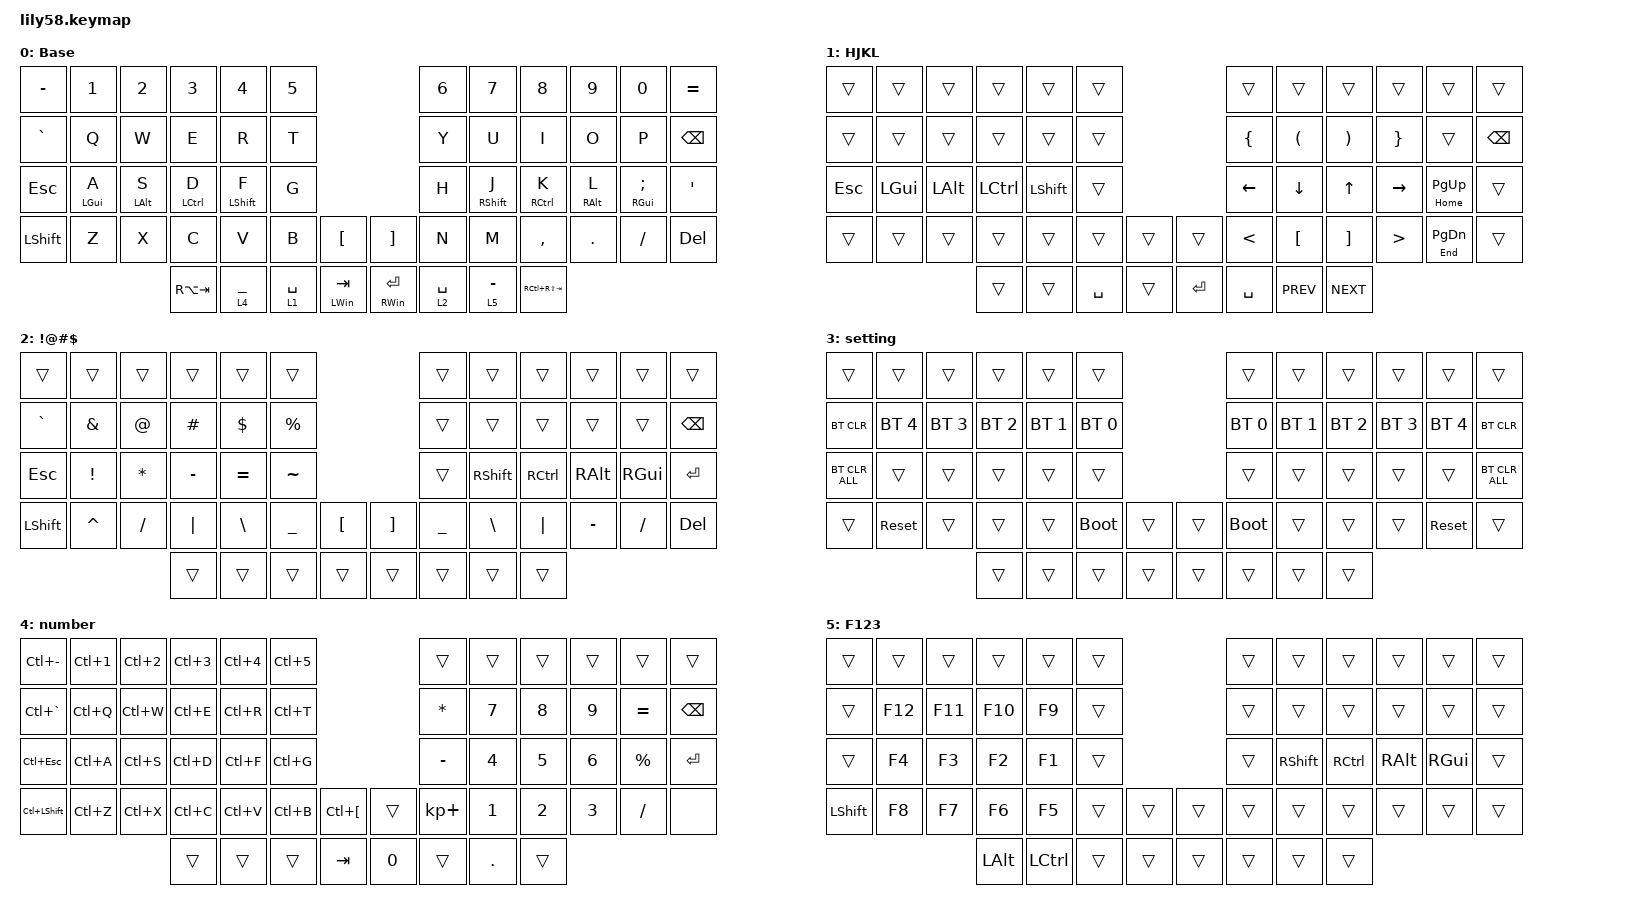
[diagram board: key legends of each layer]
/*
 * Copyright (c) 2020 The ZMK Contributors
 *
 * SPDX-License-Identifier: MIT
 */

#include <behaviors.dtsi>
#include <dt-bindings/zmk/bt.h>
#include <dt-bindings/zmk/keys.h>

/ {
    combos {
        compatible = "zmk,combos";

        combo_setting {
            bindings = <&tog 3>;
            key-positions = <37 36 48 49>;
        };

        combo_ctrl_space {
            bindings = <&kp LC(F9)>;
            key-positions = <52 55>;
        };

        combo_f8 {
            bindings = <&kp F8>;
            key-positions = <53 54>;
        };

        combo_colon {
            bindings = <&kp COLON>;
            key-positions = <28 34>;
        };

        combo_arraw {
            bindings = <&macro_arraw>;
            key-positions = <28 27>;
        };

        combo_arraw_eq {
            bindings = <&macro_arraw_eq>;
            key-positions = <16 15>;
        };

        combo_fj {
            bindings = <&kp LS(SPACE)>;
            key-positions = <28 31>;
        };

        combo_alt_shift_f8 {
            bindings = <&kp LA(LS(F8))>;
            key-positions = <38 39 40>;
        };
    };

    macros {
        macro_bracket_and_quotation: macro_bracket_and_quotation {
            compatible = "zmk,behavior-macro";
            #binding-cells = <0>;
            bindings = <&kp LEFT_BRACKET &kp SQT>;
            label = "MACRO_BRACKET_AND_QUOTATION";
        };

        macro_quotation_and_bracket: macro_quotation_and_bracket {
            compatible = "zmk,behavior-macro";
            #binding-cells = <0>;
            bindings = <&kp SQT &kp RIGHT_BRACKET>;
            label = "MACRO_QUOTATION_AND_BRACKET";
        };

        macro_arraw: macro_arraw {
            compatible = "zmk,behavior-macro";
            #binding-cells = <0>;
            bindings = <&kp MINUS &kp GREATER_THAN>;
            label = "MACRO_ARRAW";
        };

        macro_arraw_eq: macro_arraw_eq {
            compatible = "zmk,behavior-macro";
            #binding-cells = <0>;
            bindings = <&kp EQUAL &kp GREATER_THAN>;
            label = "MACRO_ARRAW_EQ";
        };

        macro_se: macro_se {
            compatible = "zmk,behavior-macro";
            #binding-cells = <0>;
            bindings = <&kp S &kp E>;
            label = "MACRO_SE";
        };

        macro_li: macro_li {
            compatible = "zmk,behavior-macro";
            #binding-cells = <0>;
            bindings = <&kp L &kp I>;
            label = "MACRO_LI";
        };

        macro_d_space: macro_d_space {
            compatible = "zmk,behavior-macro";
            #binding-cells = <0>;
            bindings = <&kp D &kp SPACE>;
            label = "MACRO_D_SPACE";
        };
    };

    behaviors {
        hm: homerow_mods {
            compatible = "zmk,behavior-hold-tap";
            label = "HOMEROW_MODS";
            bindings = <&kp>, <&kp>;

            #binding-cells = <2>;
            tapping-term-ms = <150>;
            quick-tap-ms = <250>;
            flavor = "tap-preferred";
        };
    };

    keymap {
        compatible = "zmk,keymap";

        lily-58 {
            // ------------------------------------------------------------------------------------------------------------
            // |  ESC  |  1  |  2  |  3   |  4   |  5   |                   |  6   |  7    |  8    |  9   |   0   |   `   |
            // |  TAB  |  Q  |  W  |  E   |  R   |  T   |                   |  Y   |  U    |  I    |  O   |   P   |   -   |
            // |  CTRL |  A  |  S  |  D   |  F   |  G   |                   |  H   |  J    |  K    |  L   |   ;   |   '   |
            // | SHIFT |  Z  |  X  |  C   |  V   |  B   |   "["  |  |  "]"  |  N   |  M    |  ,    |  .   |   /   | SHIFT |
            //                     | ALT  | GUI  | LOWER|  SPACE |  | ENTER | RAISE| BSPC  | GUI   |

            display-name = "Base";
            bindings = <
&kp MINUS   &kp N1          &kp N2          &kp N3              &kp N4            &kp N5                                                &kp N6       &kp N7             &kp N8               &kp N9           &kp N0              &kp EQUAL
&kp GRAVE   &kp Q           &kp W           &kp E               &kp R             &kp T                                                 &kp Y        &kp U              &kp I                &kp O            &kp P               &kp BACKSPACE
&kp ESCAPE  &hm LEFT_GUI A  &hm LEFT_ALT S  &hm LEFT_CONTROL D  &hm LEFT_SHIFT F  &kp G                                                 &kp H        &hm RIGHT_SHIFT J  &hm RIGHT_CONTROL K  &hm RIGHT_ALT L  &hm RIGHT_GUI SEMI  &kp SQT
&kp LSHFT   &kp Z           &kp X           &kp C               &kp V             &kp B        &kp LBKT            &kp RBKT             &kp N        &kp M              &kp COMMA            &kp DOT          &kp FSLH            &kp DELETE
                                            &kp RA(TAB)         &lt 4 UNDERSCORE  &lt 1 SPACE  &mt LEFT_WIN TAB    &mt RIGHT_WIN ENTER  &lt 2 SPACE  &lt 5 MINUS        &kp RC(RS(TAB))
            >;

            label = "lily-58";
        };

        guide {
            bindings = <
&trans   &trans    &trans    &trans     &trans     &trans                        &trans          &trans                &trans                 &trans            &trans          &trans
&trans   &trans    &trans    &trans     &trans     &trans                        &kp LEFT_BRACE  &kp LEFT_PARENTHESIS  &kp RIGHT_PARENTHESIS  &kp RIGHT_BRACE   &trans          &kp BSPC
&kp ESC  &kp LGUI  &kp LALT  &kp LCTRL  &kp LSHFT  &trans                        &kp LEFT_ARROW  &kp DOWN_ARROW        &kp UP_ARROW           &kp RIGHT_ARROW   &mt HOME PG_UP  &trans
&trans   &trans    &trans    &trans     &trans     &trans     &trans    &trans   &kp LESS_THAN   &kp LEFT_BRACKET      &kp RIGHT_BRACKET      &kp GREATER_THAN  &mt END PG_DN   &trans
                             &trans     &trans     &kp SPACE  &trans    &kp RET  &kp SPACE       &kp C_PREV            &kp C_NEXT
            >;

            label = "HJKL";
        };

        symbols {
            bindings = <
&trans     &trans           &trans       &trans     &trans      &trans                                &trans          &trans         &trans     &trans     &trans     &trans
&kp GRAVE  &kp AMPERSAND    &kp AT_SIGN  &kp POUND  &kp DOLLAR  &kp PERCENT                           &trans          &trans         &trans     &trans     &trans     &kp BSPC
&kp ESC    &kp EXCLAMATION  &kp ASTRK    &kp MINUS  &kp EQUAL   &kp TILDE                             &trans          &kp RSHFT      &kp RCTRL  &kp RALT   &kp RGUI   &kp ENTER
&kp LSHFT  &kp CARET        &kp SLASH    &kp PIPE   &kp BSLH    &kp UNDERSCORE  &kp LBKT    &kp RBKT  &kp UNDERSCORE  &kp BACKSLASH  &kp PIPE   &kp MINUS  &kp SLASH  &kp DEL
                                         &trans     &trans      &trans          &trans      &trans    &trans          &trans         &trans
            >;

            label = "!@#$";
        };

        setting {
            bindings = <
&trans          &trans        &trans        &trans        &trans        &trans                          &trans        &trans        &trans        &trans        &trans        &trans
&bt BT_CLR      &bt BT_SEL 4  &bt BT_SEL 3  &bt BT_SEL 2  &bt BT_SEL 1  &bt BT_SEL 0                    &bt BT_SEL 0  &bt BT_SEL 1  &bt BT_SEL 2  &bt BT_SEL 3  &bt BT_SEL 4  &bt BT_CLR
&bt BT_CLR_ALL  &trans        &trans        &trans        &trans        &trans                          &trans        &trans        &trans        &trans        &trans        &bt BT_CLR_ALL
&trans          &sys_reset    &trans        &trans        &trans        &bootloader   &trans    &trans  &bootloader   &trans        &trans        &trans        &sys_reset    &trans
                                            &trans        &trans        &trans        &trans    &trans  &trans        &trans        &trans
            >;

            label = "setting";
        };

        number {
            // ------------------------------------------------------------------------------------------------------------
            // |       |     |     |      |      |      |                   |      |       |       |      |       |       |
            // |   `   |  1  |  2  |  3   |  4   |  5   |                   |  6   |   7   |   8   |  9   |   0   |       |
            // |   F1  |  F2 |  F3 |  F4  |  F5  |  F6  |                   |      |   <-  |   v   |  ^   |  ->   |       |
            // |   F7  |  F8 |  F9 |  F10 |  F11 |  F12 |        |  |       |  +   |   -   |   =   |  [   |   ]   |   \   |
            //                     |      |      |      |        |  |       |      |       |       |

            display-name = "number";
            bindings = <
&kp LC(MINUS)   &kp LC(N1)  &kp LC(N2)  &kp LC(N3)  &kp LC(N4)  &kp LC(N5)                          &trans        &trans   &trans  &trans  &trans       &trans
&kp LC(GRAVE)   &kp LC(Q)   &kp LC(W)   &kp LC(E)   &kp LC(R)   &kp LC(T)                           &kp ASTERISK  &kp N7   &kp N8  &kp N9  &kp EQUAL    &kp BACKSPACE
&kp LC(ESCAPE)  &kp LC(A)   &kp LC(S)   &kp LC(D)   &kp LC(F)   &kp LC(G)                           &kp MINUS     &kp N4   &kp N5  &kp N6  &kp PERCENT  &kp ENTER
&kp LC(LSHFT)   &kp LC(Z)   &kp LC(X)   &kp LC(C)   &kp LC(V)   &kp LC(B)   &kp LC(LBKT)    &trans  &kp KP_PLUS   &kp N1   &kp N2  &kp N3  &kp SLASH    &none
                                        &trans      &trans      &trans      &kp TAB         &kp N0  &trans        &kp DOT  &trans
            >;

            label = "number";
        };

        Fn {
            bindings = <
&trans     &trans   &trans   &trans    &trans     &trans                    &trans  &trans     &trans     &trans    &trans    &trans
&trans     &kp F12  &kp F11  &kp F10   &kp F9     &trans                    &trans  &trans     &trans     &trans    &trans    &trans
&trans     &kp F4   &kp F3   &kp F2    &kp F1     &trans                    &trans  &kp RSHFT  &kp RCTRL  &kp RALT  &kp RGUI  &trans
&kp LSHFT  &kp F8   &kp F7   &kp F6    &kp F5     &trans  &trans    &trans  &trans  &trans     &trans     &trans    &trans    &trans
                             &kp LALT  &kp LCTRL  &trans  &trans    &trans  &trans  &trans     &trans
            >;

            label = "F123";
        };
    };
};
